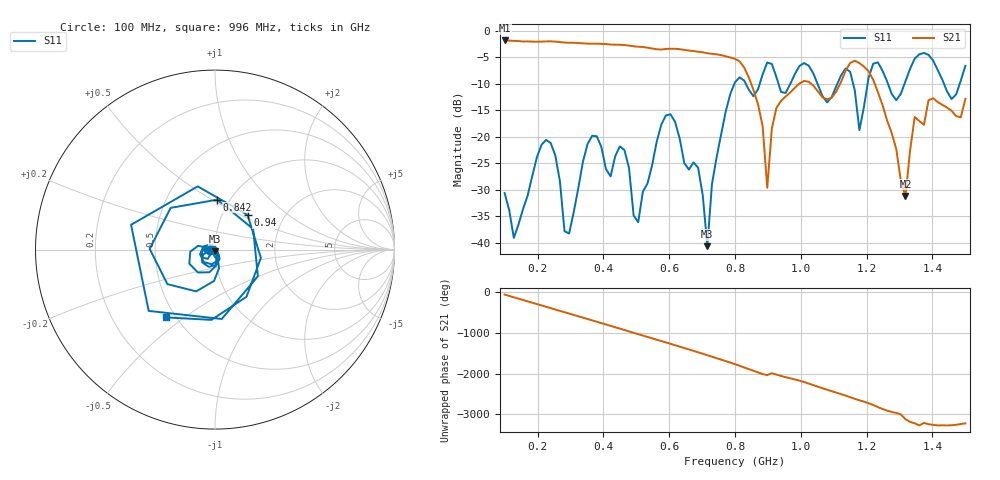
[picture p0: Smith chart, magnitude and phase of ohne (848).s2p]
! NanoVNA-App
! Date: 2025-09-25 14:27:24
! Start: 100MHz Stop: 1,5GHz Points: 101
! S-Parameter data: F S11 S21 S12 S22
# Hz S RI R 50
!  Frequency  S11_Real  S11_Imag  S21_Real  S21_Imag  S12_Real  S12_Imag  S22_Real  S22_Imag
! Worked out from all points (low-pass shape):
!   101 points, 100 MHz to 1.5 GHz, reference 50 ohm
!   highest |S21| = -1.79 dB at 100 MHz (marker M1); lowest = -31.2 dB at 1.318 GHz (marker M2)
!   |S21| within 3 dB of the highest: start of sweep to 772.4 MHz
!   lowest |S11| = -40.7 dB at 716 MHz (marker M3), VSWR 1.02, Z = 49.7 - j0.884 ohm
!   |S11| at or under -10 dB: start of sweep to 798 MHz; 833 MHz to 875.1 MHz (42.08 MHz wide, 4.93 % of centre); 1.051 GHz to 1.111 GHz (60.06 MHz wide, 5.56 % of centre) (the widest 3 of 7)
!   S12 and S22 are empty: the file has one direction only
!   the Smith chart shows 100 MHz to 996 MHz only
!   S11 on the Smith chart (normalised r, x): 100 MHz: 0.94, -0.01; 842 MHz: 0.88, +0.53; 940 MHz: 1.31, +0.55; 996 MHz: 0.44, -0.43
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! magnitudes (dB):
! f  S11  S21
! 100 MHz  -30.6  -1.8
! 128 MHz  -39.1  -1.9
! 226 MHz  -20.6  -2.0
! 296 MHz  -38.3  -2.2
! 338 MHz  -24.7  -2.3
! 464 MHz  -22.5  -2.7
! 506 MHz  -36.1  -3.0
! 576 MHz  -17.7  -3.5
! 688 MHz  -25.9  -3.9
! 716 MHz  -40.7  -4.2
! 800 MHz  -9.7  -5.3
! 842 MHz  -11.1  -8.8
! 898 MHz  -6.0  -29.6
! 940 MHz  -11.5  -13.2
! 996 MHz  -6.6  -9.9
! 1.038 GHz  -8.0  -10.3
! 1.178 GHz  -18.7  -6.1
! 1.22 GHz  -6.2  -9.2
! 1.276 GHz  -11.9  -19.3
! 1.318 GHz  -9.5  -31.2
! 1.346 GHz  -5.2  -16.3
! 1.5 GHz  -6.6  -12.8
